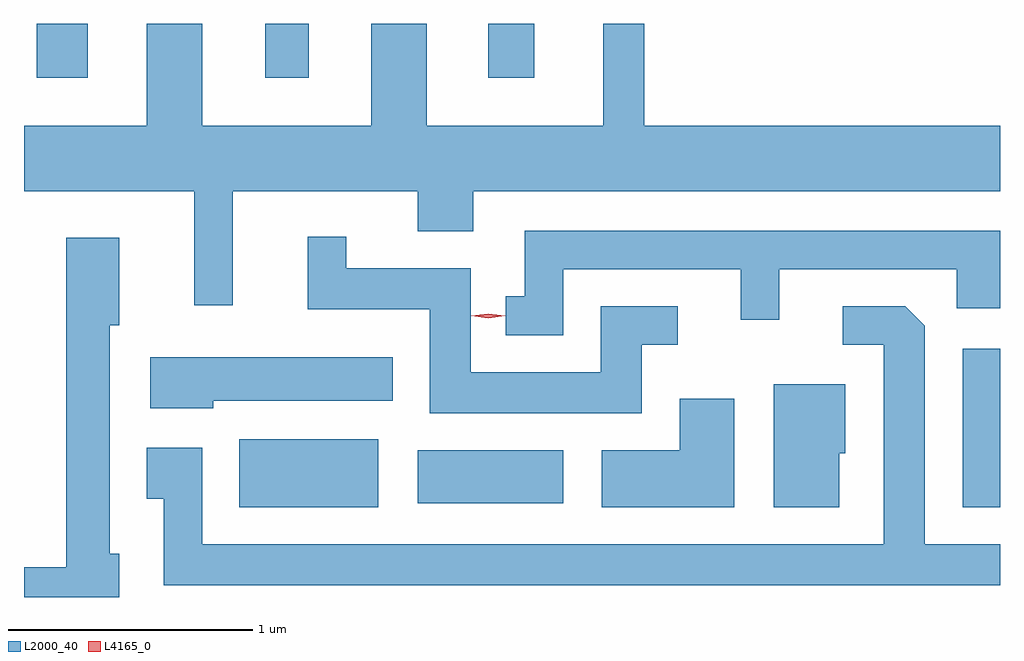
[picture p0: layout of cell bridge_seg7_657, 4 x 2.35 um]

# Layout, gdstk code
import gdstk
lib = gdstk.Library(unit=1e-6, precision=1e-09)
def R(c, l, rs):  # rectangles x0, y0, x1, y1
    for r in rs: c.add(gdstk.rectangle(r[:2], r[2:], *l))
def P(c, l, *ps):  # polygons
    for p in ps: c.add(gdstk.Polygon(p, *l))
L2000_40 = (2000, 40)
L4165_0 = (4165, 0)

bridge_seg7_657 = lib.new_cell('bridge_seg7_657')
R(bridge_seg7_657, L2000_40, [(828.721,1668.621,829.289,1668.899), (831.686,1668.621,831.838,1669.269), (829.451,1668.636,830.049,1668.854), (827.891,1670.381,828.099,1670.601), (828.826,1670.381,829.004,1670.601), (829.741,1670.381,829.929,1670.601)])
P(bridge_seg7_657, L2000_40, [(828.694,1669.916),(829.451,1669.916),(829.451,1669.751),(829.679,1669.751),(829.679,1669.916),(831.838,1669.916),(831.838,1670.184),(830.379,1670.184),(830.379,1670.601),(830.211,1670.601),(830.211,1670.184),(829.489,1670.184),(829.489,1670.601),(829.261,1670.601),(829.261,1670.184),(828.569,1670.184),(828.569,1670.601),(828.341,1670.601),(828.341,1670.184),(827.838,1670.184),(827.838,1669.916),(828.536,1669.916),(828.536,1669.448),(828.694,1669.448)],
  [(830.049,1669.596),(830.776,1669.596),(830.776,1669.388),(830.934,1669.388),(830.934,1669.596),(831.661,1669.596),(831.661,1669.436),(831.838,1669.436),(831.838,1669.754),(829.891,1669.754),(829.891,1669.484),(829.813,1669.484),(829.813,1669.326),(830.049,1669.326)],
  [(830.369,1669.286),(830.518,1669.286),(830.518,1669.444),(830.201,1669.444),(830.201,1669.174),(829.669,1669.174),(829.669,1669.599),(829.159,1669.599),(829.159,1669.728),(829.001,1669.728),(829.001,1669.431),(829.501,1669.431),(829.501,1669.006),(830.369,1669.006)],
  [(828.229,1668.429),(828.189,1668.429),(828.189,1669.366),(828.229,1669.366),(828.229,1669.724),(828.011,1669.724),(828.011,1668.374),(827.838,1668.374),(827.838,1668.252),(828.229,1668.252)],
  [(831.838,1668.469),(831.529,1668.469),(831.529,1669.364),(831.449,1669.444),(831.193,1669.444),(831.193,1669.286),(831.361,1669.286),(831.361,1668.469),(828.569,1668.469),(828.569,1668.864),(828.341,1668.864),(828.341,1668.656),(828.411,1668.656),(828.411,1668.301),(831.838,1668.301)],
  [(828.614,1669.056),(829.349,1669.056),(829.349,1669.234),(828.356,1669.234),(828.356,1669.026),(828.614,1669.026)],
  [(831.179,1668.841),(831.204,1668.841),(831.204,1669.124),(830.911,1669.124),(830.911,1668.621),(831.179,1668.621)],
  [(830.749,1669.064),(830.526,1669.064),(830.526,1668.854),(830.206,1668.854),(830.206,1668.621),(830.749,1668.621)])
P(bridge_seg7_657, L4165_0, [(829.741,1669.394),(829.672,1669.404),(829.672,1669.404),(829.672,1669.404),(829.741,1669.414),(829.811,1669.405),(829.811,1669.405),(829.811,1669.404)])

lib.write_gds('bridge_seg7_657.gds')
